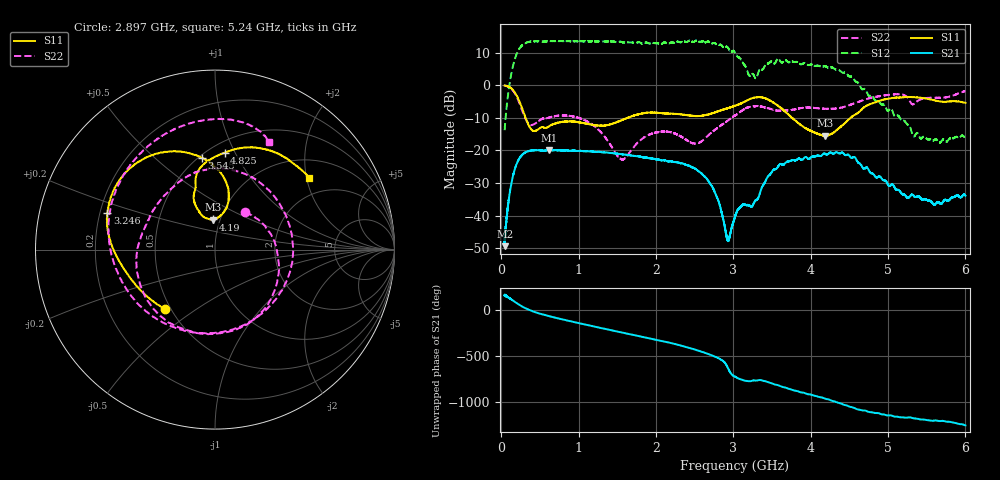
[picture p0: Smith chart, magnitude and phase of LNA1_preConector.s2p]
!Agilent Technologies,E8364A,US41440144,A.06.04.32
!Agilent E8364A: A.06.04.32
!Date: Thursday, November 08, 2018 14:21:03
!Correction: S11(Full 2 Port(1,2)) S21(Full 2 Port(1,2)) S12(Full 2 Port(1,2)) S22(Full 2 Port(1,2))
!S2P File: Measurements: S11, S21, S12, S22:
# Hz S  dB  R 50
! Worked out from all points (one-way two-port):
!   16001 points, 45 MHz to 6 GHz, reference 50 ohm
!   highest |S21| = -19.86 dB at 616.3 MHz (marker M1); lowest = -49.3 dB at 46.49 MHz (marker M2)
!   lowest |S11| = -15.5 dB at 4.191 GHz (marker M3), VSWR 1.40, Z = 46.1 + j15.9 ohm
!   |S11| at or under -10 dB: 316.9 MHz to 1.634 GHz (1.317 GHz wide, 135 % of centre); 1.634925 GHz to 1.635025 GHz (99.77 kHz wide, 0.0061 % of centre); 3.761 GHz to 4.516 GHz (754.6 MHz wide, 18.2 % of centre)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
!   |S22| runs from -22.8 to -0.1 dB; largest |S21 - S12| = 4.9
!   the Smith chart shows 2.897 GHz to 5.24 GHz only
!   S11 on the Smith chart (normalised r, x): 2.897 GHz: 0.46, -0.38; 3.246 GHz: 0.23, +0.16; 3.545 GHz: 0.52, +0.72; 4.19 GHz: 0.92, +0.32; 4.825 GHz: 0.60, +0.91; 5.24 GHz: 1.45, +2.07
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4.5e7  -0.09 -19.6  -48.17 159.9  -13.79 -52.2  -0.09 -19.3
4.648875e7  -0.08 -20.2  -49.34 158.2  -13.29 -52.0  -0.08 -19.9
2.109956e8  -3.62 -96.0  -23.53 66.9  10.12 -125.4  -4.07 -93.4
3.416334e8  -11.52 -121.9  -20.30 6.3  13.18 173.8  -11.42 -108.2
6.163078e8  -12.60 -110.5  -19.86 -67.8  13.53 96.6  -9.92 -122.8
1.037624e9  -11.47 -158.2  -20.14 -150.6  13.53 5.7  -10.26 151.6
1.52519e9  -11.03 177.5  -21.01 120.8  13.32 -92.4  -22.26 96.3
1.789071e9  -8.84 148.6  -21.83 73.6  13.18 -145.4  -17.08 111.3
2.030248e9  -8.45 109.9  -22.75 30.5  12.85 168.9  -14.38 64.6
2.444121e9  -9.31 13.9  -24.87 -55.4  13.63 84.1  -17.52 -82.6
2.68902e9  -8.89 -71.2  -29.73 -122.5  13.29 24.7  -15.08 138.0
2.896701e9  -7.27 -130.5  -44.27 141.5  11.66 -25.5  -11.39 51.0
3.0225e9  -6.27 -156.7  -40.38 -2.5  10.03 -62.8  -9.30 -0.0
3.246185e9  -3.96 161.0  -36.97 -46.8  3.51 -84.1  -6.50 -97.0
3.544679e9  -5.74 98.2  -25.70 -89.4  6.96 -116.2  -7.67 165.7
4.015124e9  -14.11 80.0  -21.89 159.9  6.29 134.5  -6.90 63.9
4.190052e9  -15.47 94.3  -21.05 117.6  5.83 95.2  -7.22 11.7
4.191169e9  -15.50 94.3  -21.07 117.4  5.80 94.8  -7.23 11.3
4.824632e9  -5.32 84.3  -27.65 -35.1  -4.37 -53.7  -3.60 139.8
5.007748e9  -4.07 63.5  -30.75 -62.5  -7.75 -76.5  -2.95 105.4
5.239993e9  -3.61 37.5  -34.22 -86.9  -11.76 -116.1  -3.46 63.3
6e9  -5.40 -39.0  -33.86 -170.4  -16.01 179.3  -1.77 19.6
